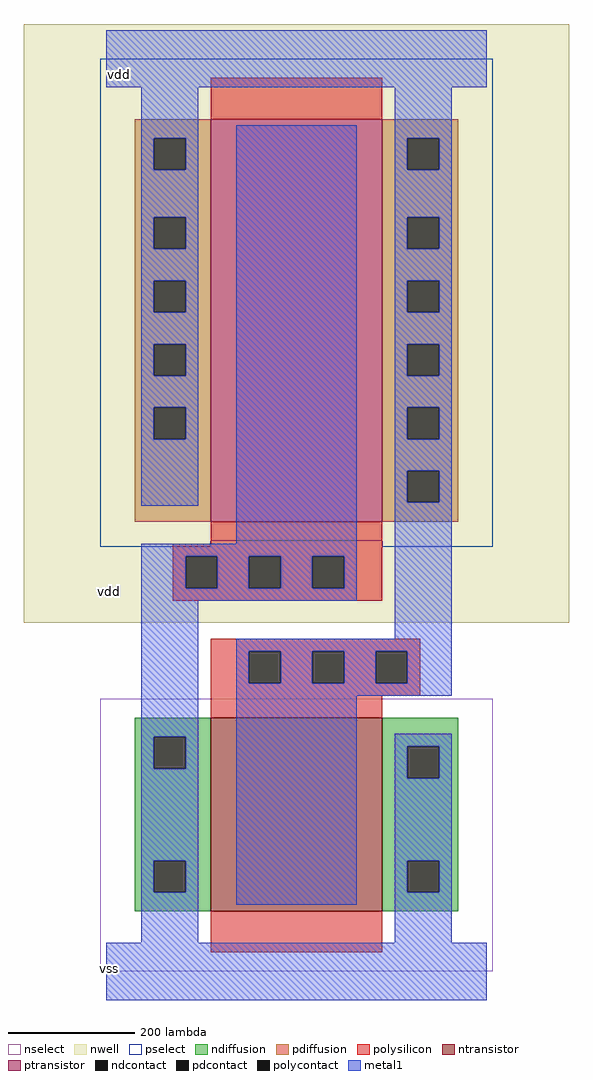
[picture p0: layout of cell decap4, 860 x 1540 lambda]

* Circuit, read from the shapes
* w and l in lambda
.subckt decap4 vdd vss
M1 vss vdd vss VSUBS nfet w=305 l=270
M2 vdd vss vdd vdd pfet w=635 l=270
.ends

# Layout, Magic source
magic
tech amic5n
<< nwell >>
rect -130 550 730 1495
<< ntransistor >>
rect 165 95 435 400
<< ptransistor >>
rect 165 710 435 1345
<< nselect >>
rect -10 0 610 430
<< pselect >>
rect -10 680 610 1440
rect -10 670 165 680
rect 435 670 610 680
<< ndiffusion >>
rect 45 370 165 400
rect 45 320 75 370
rect 125 320 165 370
rect 45 175 165 320
rect 45 125 75 175
rect 125 125 165 175
rect 45 95 165 125
rect 435 355 555 400
rect 435 305 475 355
rect 525 305 555 355
rect 435 175 555 305
rect 435 125 475 175
rect 525 125 555 175
rect 435 95 555 125
<< pdiffusion >>
rect 45 1315 165 1345
rect 45 1265 75 1315
rect 125 1265 165 1315
rect 45 1190 165 1265
rect 45 1140 75 1190
rect 125 1140 165 1190
rect 45 1090 165 1140
rect 45 1040 75 1090
rect 125 1040 165 1090
rect 45 990 165 1040
rect 45 940 75 990
rect 125 940 165 990
rect 45 890 165 940
rect 45 840 75 890
rect 125 840 165 890
rect 45 710 165 840
rect 435 1315 555 1345
rect 435 1265 475 1315
rect 525 1265 555 1315
rect 435 1190 555 1265
rect 435 1140 475 1190
rect 525 1140 555 1190
rect 435 1090 555 1140
rect 435 1040 475 1090
rect 525 1040 555 1090
rect 435 990 555 1040
rect 435 940 475 990
rect 525 940 555 990
rect 435 890 555 940
rect 435 840 475 890
rect 525 840 555 890
rect 435 790 555 840
rect 435 740 475 790
rect 525 740 555 790
rect 435 710 555 740
<< ndcontact >>
rect 75 320 125 370
rect 75 125 125 175
rect 475 305 525 355
rect 475 125 525 175
<< pdcontact >>
rect 75 1265 125 1315
rect 75 1140 125 1190
rect 75 1040 125 1090
rect 75 940 125 990
rect 75 840 125 890
rect 475 1265 525 1315
rect 475 1140 525 1190
rect 475 1040 525 1090
rect 475 940 525 990
rect 475 840 525 890
rect 475 740 525 790
<< polysilicon >>
rect 165 1345 435 1410
rect 165 675 435 710
rect 105 655 435 675
rect 105 605 125 655
rect 175 605 225 655
rect 275 605 325 655
rect 375 605 435 655
rect 105 585 435 605
rect 165 505 495 525
rect 165 455 225 505
rect 275 455 325 505
rect 375 455 425 505
rect 475 455 495 505
rect 165 435 495 455
rect 165 400 435 435
rect 165 30 435 95
<< polycontact >>
rect 125 605 175 655
rect 225 605 275 655
rect 325 605 375 655
rect 225 455 275 505
rect 325 455 375 505
rect 425 455 475 505
<< metal1 >>
rect 0 1395 600 1485
rect 55 1315 145 1395
rect 55 1265 75 1315
rect 125 1265 145 1315
rect 55 1190 145 1265
rect 55 1140 75 1190
rect 125 1140 145 1190
rect 55 1090 145 1140
rect 55 1040 75 1090
rect 125 1040 145 1090
rect 55 990 145 1040
rect 55 940 75 990
rect 125 940 145 990
rect 55 890 145 940
rect 55 840 75 890
rect 125 840 145 890
rect 55 735 145 840
rect 205 675 395 1335
rect 55 655 395 675
rect 55 605 125 655
rect 175 605 225 655
rect 275 605 325 655
rect 375 605 395 655
rect 55 585 395 605
rect 455 1315 545 1395
rect 455 1265 475 1315
rect 525 1265 545 1315
rect 455 1190 545 1265
rect 455 1140 475 1190
rect 525 1140 545 1190
rect 455 1090 545 1140
rect 455 1040 475 1090
rect 525 1040 545 1090
rect 455 990 545 1040
rect 455 940 475 990
rect 525 940 545 990
rect 455 890 545 940
rect 455 840 475 890
rect 525 840 545 890
rect 455 790 545 840
rect 455 740 475 790
rect 525 740 545 790
rect 55 370 145 585
rect 455 525 545 740
rect 55 320 75 370
rect 125 320 145 370
rect 55 175 145 320
rect 55 125 75 175
rect 125 125 145 175
rect 55 45 145 125
rect 205 505 545 525
rect 205 455 225 505
rect 275 455 325 505
rect 375 455 425 505
rect 475 455 545 505
rect 205 435 545 455
rect 205 105 395 435
rect 455 355 545 375
rect 455 305 475 355
rect 525 305 545 355
rect 455 175 545 305
rect 455 125 475 175
rect 525 125 545 175
rect 455 45 545 125
rect 0 -45 600 45
<< labels >>
flabel metal1 s 5 5 5 5 2 FreeSans 400 0 0 0 vss
port 1 ne
flabel metal1 s 20 1415 20 1415 2 FreeSans 400 0 0 0 vdd
port 0 ne
flabel nwell 5 600 5 600 2 FreeSans 400 0 0 0 vdd
<< properties >>
string LEFclass CORE
string LEFsite core
string FIXED_BBOX 0 0 600 1440
string LEFsymmetry X Y
<< end >>
